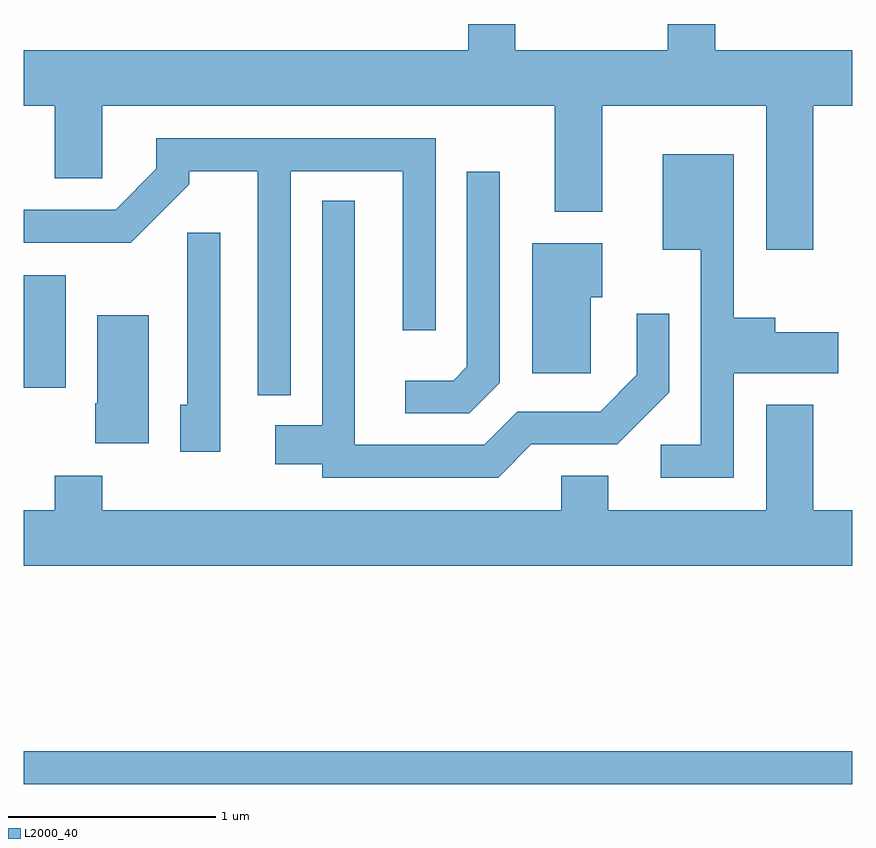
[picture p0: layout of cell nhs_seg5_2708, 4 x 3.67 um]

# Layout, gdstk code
import gdstk
lib = gdstk.Library(unit=1e-6, precision=1e-09)
def R(c, l, rs):  # rectangles x0, y0, x1, y1
    for r in rs: c.add(gdstk.rectangle(r[:2], r[2:], *l))
def P(c, l, *ps):  # polygons
    for p in ps: c.add(gdstk.Polygon(p, *l))
L2000_40 = (2000, 40)

nhs_seg5_2708 = lib.new_cell('nhs_seg5_2708')
R(nhs_seg5_2708, L2000_40, [(265.611,1462.401,269.611,1462.559), (265.611,1464.316,265.814,1464.859)])
P(nhs_seg5_2708, L2000_40, [(269.424,1465.676),(269.611,1465.676),(269.611,1465.944),(268.949,1465.944),(268.949,1466.072),(268.721,1466.072),(268.721,1465.944),(267.984,1465.944),(267.984,1466.072),(267.756,1466.072),(267.756,1465.944),(265.611,1465.944),(265.611,1465.676),(265.761,1465.676),(265.761,1465.326),(265.989,1465.326),(265.989,1465.676),(268.176,1465.676),(268.176,1465.166),(268.404,1465.166),(268.404,1465.676),(269.196,1465.676),(269.196,1464.981),(269.424,1464.981)],
  [(266.899,1465.361),(267.441,1465.361),(267.441,1464.593),(267.599,1464.593),(267.599,1465.519),(266.251,1465.519),(266.251,1465.372),(266.054,1465.174),(265.611,1465.174),(265.611,1465.016),(266.127,1465.016),(266.409,1465.299),(266.409,1465.361),(266.741,1465.361),(266.741,1464.278),(266.899,1464.278)],
  [(269.039,1464.386),(269.544,1464.386),(269.544,1464.584),(269.239,1464.584),(269.239,1464.654),(269.039,1464.654),(269.039,1465.444),(268.696,1465.444),(268.696,1464.981),(268.881,1464.981),(268.881,1464.039),(268.688,1464.039),(268.688,1463.881),(269.039,1463.881)],
  [(267.909,1464.339),(267.909,1465.358),(267.751,1465.358),(267.751,1464.417),(267.684,1464.349),(267.453,1464.349),(267.453,1464.191),(267.762,1464.191)],
  [(268.062,1464.041),(268.477,1464.041),(268.729,1464.294),(268.729,1464.673),(268.571,1464.673),(268.571,1464.377),(268.394,1464.199),(267.994,1464.199),(267.834,1464.039),(267.209,1464.039),(267.209,1465.218),(267.051,1465.218),(267.051,1464.134),(266.826,1464.134),(266.826,1463.946),(267.051,1463.946),(267.051,1463.881),(267.902,1463.881)],
  [(266.559,1465.063),(266.401,1465.063),(266.401,1464.234),(266.366,1464.234),(266.366,1464.006),(266.559,1464.006)],
  [(268.349,1464.751),(268.404,1464.751),(268.404,1465.014),(268.066,1465.014),(268.066,1464.386),(268.349,1464.386)],
  [(266.214,1464.664),(265.966,1464.664),(265.966,1464.24),(265.956,1464.24),(265.956,1464.046),(266.214,1464.046)],
  [(269.611,1463.724),(269.424,1463.724),(269.424,1464.234),(269.196,1464.234),(269.196,1463.724),(268.434,1463.724),(268.434,1463.889),(268.206,1463.889),(268.206,1463.724),(265.989,1463.724),(265.989,1463.889),(265.761,1463.889),(265.761,1463.724),(265.611,1463.724),(265.611,1463.456),(269.611,1463.456)])

lib.write_gds('nhs_seg5_2708.gds')
